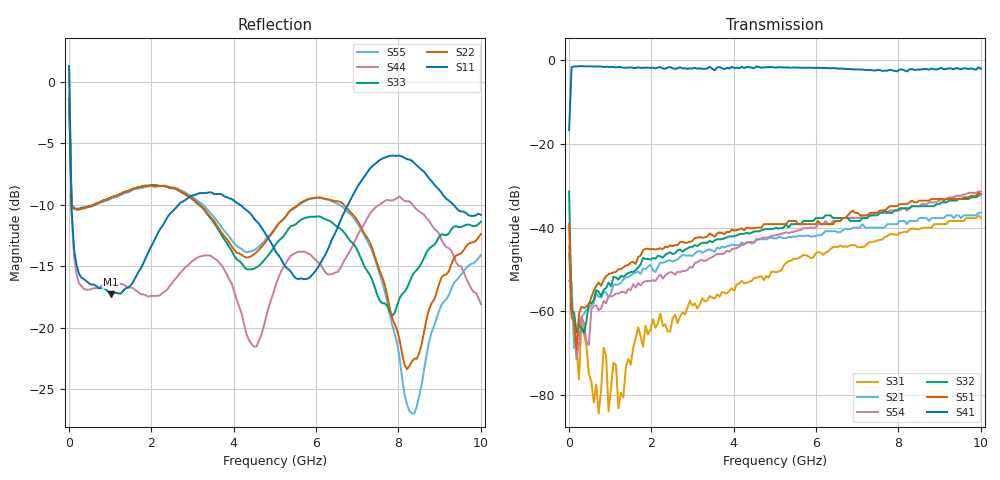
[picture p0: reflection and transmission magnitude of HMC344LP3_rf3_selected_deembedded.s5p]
!Hittite Microwave Corporation
!12 Elizabeth Drive
!Chelmsford, MA 01824
!Tel: 978-250-3343
!Fax: 978-250-3373
!Device: HMC344LP3, DC-8 GHz GaAs MMIC SP4T Non-Reflective Switch in Leadless LP3 SMT Package
!Misc: Room Temp Vctl=-5V Port1=RFC, Port2=RF1, Port3=RF2, Port4=RF3, Port5=RF4, RF3 ON.
# MHZ S MA R 50
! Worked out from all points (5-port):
!   168 points, 10 MHz to 10 GHz, reference 50 ohm
!   strongest paths, dB at 10 MHz, 2.522 GHz, 5.035 GHz, 7.547 GHz, 10 GHz:
!     S41: -16.7, -2.0, -1.8, -2.4, -2.1
!     S51: -39.2, -44.4, -39.2, -35.9, -32.0
!     S32: -31.4, -46.3, -40.0, -36.5, -32.0
!     S54: -46.2, -50.8, -41.8, -36.5, -31.4
!     S21: -52.8, -48.1, -42.6, -40.0, -36.5
!     S31: -44.4, -61.6, -50.7, -42.9, -37.7
!   lowest |S11| = -17.3 dB at 1.027 GHz (marker M1), VSWR 1.32, Z = 53.3 - j13.9 ohm
!   |S11| at or under -10 dB: 67.77 MHz to 2.664 GHz (2.596 GHz wide, 190 % of centre); 4.159 GHz to 6.775 GHz (2.616 GHz wide, 47.9 % of centre); 9.333 GHz to end of sweep
